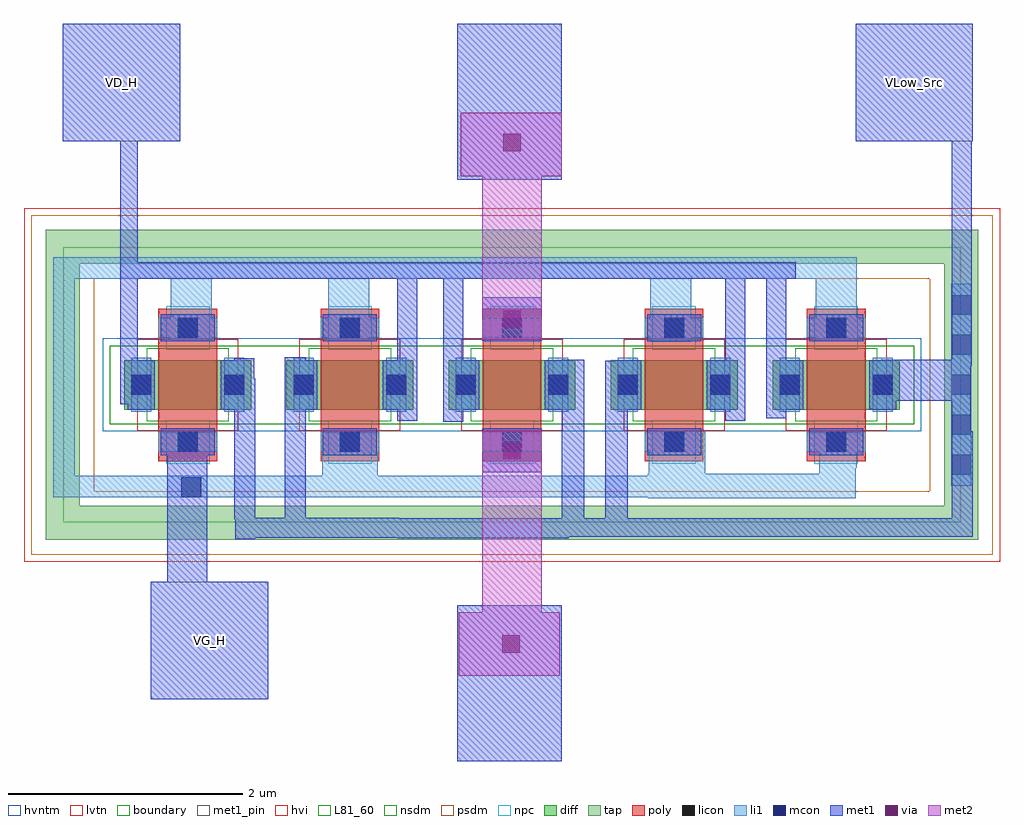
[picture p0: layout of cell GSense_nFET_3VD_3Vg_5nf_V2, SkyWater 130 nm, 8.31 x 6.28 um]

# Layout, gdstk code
import gdstk
lib = gdstk.Library(unit=1e-6, precision=1e-09)
def R(c, l, rs):  # rectangles x0, y0, x1, y1
    for r in rs: c.add(gdstk.rectangle(r[:2], r[2:], *l))
def A(c, l, x, y, w, h, nx, ny, dx, dy):  # array of equal rectangles
    R(c, l, [(x+i*dx, y+j*dy, x+i*dx+w, y+j*dy+h) for i in range(nx) for j in range(ny)])
diff = (65, 20)
tap = (65, 44)
poly = (66, 20)
licon = (66, 44)
li1 = (67, 20)
mcon = (67, 44)
met1_pin = (68, 16)
met1 = (68, 20)
via = (68, 44)
met2 = (69, 20)
hvi = (75, 20)
L81_60 = (81, 60)
nsdm = (93, 44)
psdm = (94, 20)
npc = (95, 20)
hvntm = (125, 20)
lvtn = (125, 44)
boundary = (235, 4)

sky130_fd_pr__nfet_03v3_ = lib.new_cell('sky130_fd_pr__nfet_03v3_nvt_VB5P9F')
A(sky130_fd_pr__nfet_03v3_, diff, -3.3, -0.21, 1.08, 0.42, 5, 1, 1.38, 0)
R(sky130_fd_pr__nfet_03v3_, tap, [(-3.97,-1.32,3.97,-1.03), (-3.97,-1.03,-3.68,1.03), (3.68,-1.03,3.97,1.03), (-3.97,1.03,3.97,1.32)])
A(sky130_fd_pr__nfet_03v3_, poly, -3.01, -0.65, 0.5, 1.3, 5, 1, 1.38, 0)
A(sky130_fd_pr__nfet_03v3_, licon, 3.74, -0.765, 0.17, 0.17, 1, 5, 0, 0.34)
A(sky130_fd_pr__nfet_03v3_, licon, -2.845, -0.57, 0.17, 0.17, 5, 2, 1.38, 0.97)
R(sky130_fd_pr__nfet_03v3_, licon, [(-3.24,-0.085,-3.07,0.085), (-2.45,-0.085,-2.28,0.085), (-1.86,-0.085,-1.69,0.085), (-1.07,-0.085,-0.9,0.085), (-0.48,-0.085,-0.31,0.085), (0.31,-0.085,0.48,0.085), (0.9,-0.085,1.07,0.085), (1.69,-0.085,1.86,0.085), (2.28,-0.085,2.45,0.085), (3.07,-0.085,3.24,0.085)])
A(sky130_fd_pr__nfet_03v3_, li1, -3.01, -0.57, 0.5, 0.17, 5, 2, 1.38, 0.97)
R(sky130_fd_pr__nfet_03v3_, li1, [(3.74,-0.86,3.91,0.86), (-3.24,-0.23,-3.07,0.23), (-2.45,-0.23,-2.28,0.23), (-1.86,-0.23,-1.69,0.23), (-1.07,-0.23,-0.9,0.23), (-0.48,-0.23,-0.31,0.23), (0.31,-0.23,0.48,0.23), (0.9,-0.23,1.07,0.23), (1.69,-0.23,1.86,0.23), (2.28,-0.23,2.45,0.23), (3.07,-0.23,3.24,0.23)])
A(sky130_fd_pr__nfet_03v3_, mcon, -2.845, -0.57, 0.17, 0.17, 5, 2, 1.38, 0.97)
R(sky130_fd_pr__nfet_03v3_, mcon, [(-3.24,-0.085,-3.07,0.085), (-2.45,-0.085,-2.28,0.085), (-1.86,-0.085,-1.69,0.085), (-1.07,-0.085,-0.9,0.085), (-0.48,-0.085,-0.31,0.085), (0.31,-0.085,0.48,0.085), (0.9,-0.085,1.07,0.085), (1.69,-0.085,1.86,0.085), (2.28,-0.085,2.45,0.085), (3.07,-0.085,3.24,0.085)])
A(sky130_fd_pr__nfet_03v3_, met1, -2.99, -0.6, 0.46, 0.23, 5, 2, 1.38, 0.97)
R(sky130_fd_pr__nfet_03v3_, met1, [(-3.27,-0.21,-3.04,0.21), (-2.48,-0.21,-2.25,0.21), (-1.89,-0.21,-1.66,0.21), (-1.1,-0.21,-0.87,0.21), (-0.51,-0.21,-0.28,0.21), (0.28,-0.21,0.51,0.21), (0.87,-0.21,1.1,0.21), (1.66,-0.21,1.89,0.21), (2.25,-0.21,2.48,0.21), (3.04,-0.21,3.27,0.21)])
R(sky130_fd_pr__nfet_03v3_, hvi, [(-4.155,-1.505,4.155,1.505)])
A(sky130_fd_pr__nfet_03v3_, L81_60, -3.11, -0.31, 0.7, 0.62, 5, 1, 1.38, 0)
R(sky130_fd_pr__nfet_03v3_, nsdm, [(-3.425,-0.335,3.425,0.335)])
R(sky130_fd_pr__nfet_03v3_, psdm, [(-4.095,-1.445,4.095,-0.905), (-4.095,-0.905,-3.555,0.905), (3.555,-0.905,4.095,0.905), (-4.095,0.905,4.095,1.445)])
A(sky130_fd_pr__nfet_03v3_, npc, -2.945, -0.67, 0.37, 0.37, 5, 2, 1.38, 0.97)
R(sky130_fd_pr__nfet_03v3_, hvntm, [(-3.485,-0.395,3.485,0.395)])
A(sky130_fd_pr__nfet_03v3_, lvtn, -3.19, -0.39, 0.86, 0.78, 5, 1, 1.38, 0)
R(sky130_fd_pr__nfet_03v3_, boundary, [(-3.82,-1.17,3.82,1.17)])

gsense_nfet_3vd_3vg_5nf_ = lib.new_cell('GSense_nFET_3VD_3Vg_5nf_V2')
R(gsense_nfet_3vd_3vg_5nf_, li1, [(4.98,-3.79,6.75,-3.78), (-0.08,-3.78,6.75,-3.6), (-0.08,-3.6,0.1,-1.92), (2.21,-3.6,2.68,-3.23), (4.98,-3.6,6.75,-3.58), (4.99,-3.58,5.47,-3.22), (6.44,-3.58,6.75,-3.53), (6.44,-3.53,6.76,-3.26), (5,-2.46,5.35,-1.92), (0.92,-2.45,1.27,-1.92), (2.26,-2.45,2.61,-1.92), (6.41,-2.45,6.76,-1.92), (-0.08,-1.92,6.76,-1.74)])
R(gsense_nfet_3vd_3vg_5nf_, mcon, [(1.01,-3.78,1.18,-3.61)])
R(gsense_nfet_3vd_3vg_5nf_, met1_pin, [(0.75,-5.5,1.75,-4.5), (0,-0.75,1,0.25), (6.75,-0.75,7.75,0.25)])
R(gsense_nfet_3vd_3vg_5nf_, met1, [(3.36,-6.03,4.25,-4.7), (0.75,-5.5,1.75,-4.5), (0.89,-4.5,1.23,-3.4), (1.47,-4.14,1.64,-4.125), (2.85,-4.13,4.31,-4.125), (1.47,-4.125,4.31,-4.12), (1.47,-4.12,7.75,-3.97), (1.46,-3.97,7.75,-3.96), (1.46,-3.96,2.86,-3.955), (4.25,-3.96,4.44,-2.61), (4.62,-3.96,4.81,-2.62), (7.57,-3.96,7.75,-3.22), (1.46,-3.955,1.64,-2.77), (1.89,-3.955,2.07,-2.59), (3.57,-3.57,4.08,-3.2), (0.89,-3.4,0.91,-3.22), (7.57,-3.22,7.73,-2.96), (3.24,-3.14,3.41,-1.92), (2.85,-3.13,3.02,-1.92), (5.64,-3.13,5.81,-1.92), (5.99,-3.11,6.16,-1.92), (0.49,-2.99,0.64,-1.92), (6.97,-2.96,7.73,-2.66), (1.46,-2.77,1.63,-2.6), (6.97,-2.66,7.74,-2.61), (7.57,-2.61,7.74,-0.75), (3.57,-2.45,4.08,-2.08), (0.49,-1.92,6.24,-1.78), (0.49,-1.78,0.64,-0.75), (3.36,-1.08,4.25,0.25), (0,-0.75,1,0.25), (6.75,-0.75,7.75,0.25)])
R(gsense_nfet_3vd_3vg_5nf_, via, [(3.74,-5.105,3.89,-4.955), (3.75,-3.46,3.9,-3.31), (3.75,-2.34,3.9,-2.19), (3.75,-0.835,3.9,-0.685)])
R(gsense_nfet_3vd_3vg_5nf_, met2, [(3.37,-5.3,4.23,-4.76), (3.57,-4.76,4.08,-3.22), (3.57,-2.44,4.08,-1.05), (3.39,-1.05,4.25,-0.51)])
gsense_nfet_3vd_3vg_5nf_.add(gdstk.Reference(sky130_fd_pr__nfet_03v3_, (3.825,-2.825)))
gsense_nfet_3vd_3vg_5nf_.add(gdstk.Label('VD_H', (0.5,-0.25), layer=68, texttype=5))
gsense_nfet_3vd_3vg_5nf_.add(gdstk.Label('VG_H', (1.25,-5), layer=68, texttype=5))
gsense_nfet_3vd_3vg_5nf_.add(gdstk.Label('VLow_Src', (7.25,-0.25), layer=68, texttype=5))

lib.write_gds('GSense_nFET_3VD_3Vg_5nf_V2.gds')
